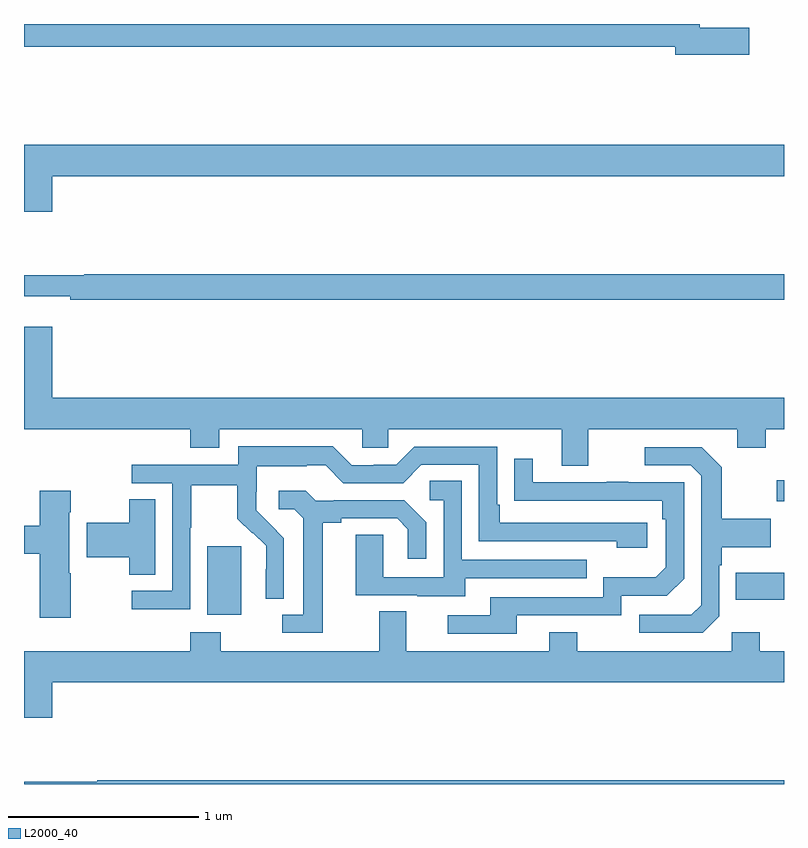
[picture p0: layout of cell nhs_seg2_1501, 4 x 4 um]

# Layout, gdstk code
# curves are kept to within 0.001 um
import gdstk
lib = gdstk.Library(unit=1e-6, precision=1e-09)
def R(c, l, rs):  # rectangles x0, y0, x1, y1
    for r in rs: c.add(gdstk.rectangle(r[:2], r[2:], *l))
def P(c, l, *ps):  # polygons
    for p in ps: c.add(gdstk.Polygon(p, *l))
L2000_40 = (2000, 40)

nhs_seg2_1501 = lib.new_cell('nhs_seg2_1501')
R(nhs_seg2_1501, L2000_40, [(189.965,614.69,190.144,615.051), (192.745,614.771,193,614.911), (192.963,615.287,193,615.4)])
P(nhs_seg2_1501, L2000_40, [(192.817,617.78),(192.556,617.78),(192.556,617.8),(189,617.8),(189,617.68),(192.428,617.68),(192.428,617.638),(192.817,617.638)],
  [(189.148,617),(193,617),(193,617.164),(189,617.164),(189,616.812),(189.148,616.812)],
  [(193,616.484),(189.316,616.484),(189.316,616.477),(189,616.477),(189,616.367),(189.244,616.367),(189.244,616.348),(193,616.348)],
  [(191.971,615.668),(192.755,615.668),(192.755,615.569),(192.903,615.569),(192.903,615.668),(193,615.668),(193,615.832),(189.148,615.832),(189.148,616.207),(189,616.207),(189,615.668),(189.875,615.668),(189.875,615.569),(190.027,615.569),(190.027,615.668),(190.779,615.668),(190.779,615.57),(190.917,615.57),(190.917,615.668),(191.831,615.668),(191.831,615.474),(191.971,615.474)],
  [(189.876,615.148),(189.879,615.148),(189.879,615.372),(190.123,615.372),(190.123,615.197),(190.2,615.12),(190.203,615.123),(190.274,615.053),(190.274,614.93),(190.272,614.93),(190.272,614.776),(190.368,614.776),(190.368,615.094),(190.222,615.242),(190.222,615.339),(190.224,615.339),(190.224,615.473),(190.487,615.473),(190.487,615.477),(190.587,615.477),(190.68,615.384),(190.995,615.384),(191.091,615.48),(191.394,615.48),(191.394,615.078),(192.119,615.078),(192.119,615.044),(192.28,615.044),(192.28,615.174),(191.503,615.174),(191.503,615.271),(191.49,615.271),(191.49,615.576),(191.055,615.576),(190.959,615.48),(190.841,615.48),(190.841,615.477),(190.725,615.477),(190.625,615.577),(190.128,615.577),(190.128,615.48),(189.567,615.48),(189.567,615.384),(189.78,615.384),(189.78,614.817),(189.567,614.817),(189.567,614.719),(189.876,614.719)],
  [(192.66,614.682),(192.66,614.951),(192.673,614.951),(192.673,615.047),(192.929,615.047),(192.929,615.195),(192.673,615.195),(192.673,615.467),(192.567,615.573),(192.267,615.573),(192.267,615.477),(192.51,615.477),(192.564,615.423),(192.564,614.742),(192.513,614.691),(192.237,614.691),(192.237,614.595),(192.573,614.595)],
  [(191.593,614.688),(192.144,614.688),(192.144,614.79),(192.384,614.79),(192.474,614.88),(192.474,615.387),(192.179,615.387),(192.179,615.392),(192.067,615.392),(192.067,615.387),(191.677,615.387),(191.677,615.511),(191.581,615.511),(191.581,615.292),(192.358,615.291),(192.358,615.194),(192.378,615.194),(192.378,614.94),(192.325,614.887),(192.048,614.887),(192.048,614.784),(191.453,614.784),(191.453,614.688),(191.229,614.688),(191.229,614.592),(191.593,614.592)],
  [(191.323,614.883),(191.963,614.883),(191.963,614.979),(191.304,614.979),(191.304,615.395),(191.136,615.395),(191.136,615.294),(191.208,615.294),(191.208,614.889),(190.89,614.889),(190.89,615.113),(190.745,615.113),(190.745,614.793),(191.069,614.793),(191.069,614.789),(191.323,614.789)],
  [(190.573,615.176),(190.669,615.176),(190.669,615.198),(190.964,615.198),(191.021,615.141),(191.021,614.985),(191.118,614.985),(191.118,615.178),(191.002,615.294),(190.63,615.294),(190.63,615.291),(190.536,615.291),(190.484,615.343),(190.341,615.343),(190.341,615.246),(190.422,615.246),(190.469,615.199),(190.469,614.691),(190.359,614.691),(190.359,614.595),(190.573,614.595)],
  [(189.246,614.909),(189.238,614.909),(189.238,615.23),(189.246,615.23),(189.246,615.343),(189.083,615.343),(189.083,615.158),(189,615.158),(189,615.011),(189.083,615.011),(189.083,614.676),(189.246,614.676)],
  [(189.691,615.299),(189.553,615.299),(189.553,615.176),(189.33,615.176),(189.33,614.993),(189.553,614.993),(189.553,614.902),(189.691,614.902)],
  [(189.148,614.336),(193,614.336),(193,614.5),(192.873,614.5),(192.873,614.599),(192.726,614.599),(192.726,614.5),(191.913,614.5),(191.913,614.599),(191.765,614.599),(191.765,614.5),(191.011,614.5),(191.011,614.708),(190.871,614.708),(190.871,614.5),(190.035,614.5),(190.035,614.599),(189.875,614.599),(189.875,614.5),(189,614.5),(189,614.148),(189.148,614.148)],
  [(193,613.82),(189.386,613.82),(189.386,613.813),(189,613.813),(189,613.8),(193,613.8)])

lib.write_gds('nhs_seg2_1501.gds')
